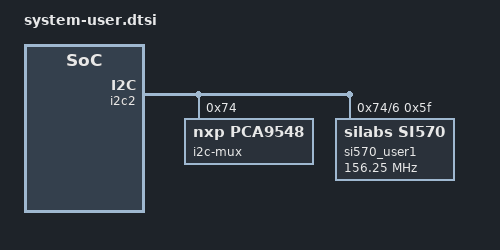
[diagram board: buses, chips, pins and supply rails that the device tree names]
/*
 * system-user.dtsi -- VCK190 memory-loopback: device-tree additions.
 *
 * Copied into the PetaLinux project by `make vck190-import-xsa`.  The
 * generated device tree (pl.dtsi, from the XSA) already describes axi_dma
 * and the two receiver register blocks; this file only changes how Linux
 * binds them:
 *
 *   rx ctrl / rx demod  -> generic-uio, so a userspace tool can mmap the
 *                          receiver's registers (the same maps the sim
 *                          runner writes: OUTPUT_SHIFT, NORM_SQUELCH, the
 *                          timing and carrier gains, the readbacks).
 *   axi_dma             -> stays on the kernel xilinx_dma driver; a dma-proxy
 *                          node gives userspace one MM2S and one S2MM channel
 *                          (module recipe: recipes-modules/dma-proxy; 4 MB
 *                          buffers x 32 x 2 channels = 256 MB of coherent
 *                          memory, hence cma=512M in bootargs).
 *
 * The node labels (rx, axi_dma) are the device-tree generator's, read from
 * pl.dtsi after the first import (2026-10-24): the receiver is ONE node,
 * "rx: haifuraiya_rx_axi@a4010000", with two reg entries (0xa4010000 and
 * 0xa4020000), so generic-uio gives /dev/uio0 with map0 = channelizer
 * registers and map1 = demod registers.
 */
/include/ "system-conf.dtsi"
/ {
	chosen {
		bootargs = "console=ttyAMA0 earlycon=pl011,mmio32,0xFF000000,115200n8 clk_ignore_unused root=/dev/ram0 rw uio_pdrv_genirq.of_id=generic-uio cma=512M";
	};

	dma_proxy {
		compatible = "xlnx,dma_proxy";
		dmas = <&axi_dma 0 &axi_dma 1>;
		dma-names = "dma_proxy_tx", "dma_proxy_rx";
	};
};

/* receiver registers as a UIO device: /dev/uio0, map0 = channelizer ctrl
 * (0xA4010000), map1 = demod (0xA4020000) */
&rx {
	compatible = "generic-uio";
};

/* tier 2 only: the ESIstream link block (esi_link_hw, 0xA4030000) as
 * /dev/uio1, map0 -- opv_play reads its status and counters there.  The
 * label is the device-tree generator's for the block-design cell
 * playback_i/esi_link/esi; CONFIRM it in the generated pl.dtsi after
 * `make vck190-import-xsa` (grep -n a4030000 ... pl.dtsi) before
 * `make vck190-build`, and change it here if it differs.  A tier-1 import
 * has no such node, and this reference would then fail the device-tree
 * build: comment it out for a tier-1 image. */
&esi_link_esi {
	compatible = "generic-uio";
};

/* The GTY reference clock for tier 2 and tier 3: the board's user SI570
 * (U205) on PMC I2C0 (i2c2, f1000000) behind TCA9548A switch U33, channel
 * 6, address 0x5F (UG1366, "PMC MIO 46-47 I2C0 Bus"; the System Controller's
 * VCK190.json calls it SI570_USER1_FMC, default 100 MHz).  The kernel's
 * clk-si570 driver programs clock-frequency at every boot, so the clock is
 * part of the image: nothing to do after a power cycle, no System
 * Controller involved.  U33's address is 0x74 in UG1366's text and 0x75 in
 * its table -- confirm with `i2cdetect -y -r 2` on the board (i2c-tools is
 * in the rootfs for this) and change it here if the switch answers at 0x75.
 * temperature-stability 50 ppm and factory-fout 100 MHz are the driver's
 * required inputs: 50 is the conservative grade (10-945 MHz range), 100 MHz
 * is the documented power-up frequency; both assumed, not measured. */
&i2c2 {
	#address-cells = <1>;
	#size-cells = <0>;
	status = "okay";
	i2c-mux@74 {
		compatible = "nxp,pca9548";
		#address-cells = <1>;
		#size-cells = <0>;
		reg = <0x74>;
		i2c@6 {
			#address-cells = <1>;
			#size-cells = <0>;
			reg = <6>;
			si570_user1: clock-generator@5f {
				#clock-cells = <0>;
				compatible = "silabs,si570";
				reg = <0x5f>;
				temperature-stability = <50>;
				factory-fout = <100000000>;
				clock-frequency = <156250000>;
				clock-output-names = "si570_user1";
			};
		};
	};
};
